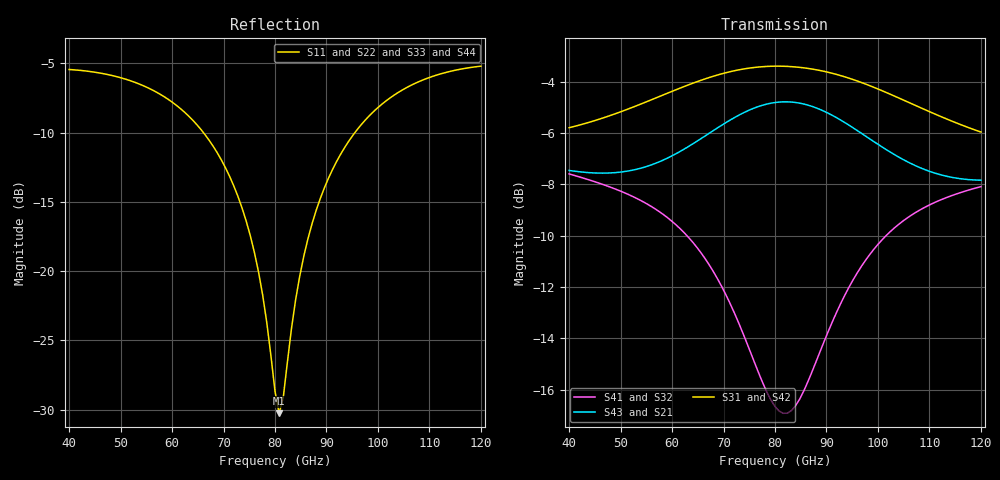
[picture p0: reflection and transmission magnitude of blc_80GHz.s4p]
#  GHZ S DB R 50
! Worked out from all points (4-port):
!   101 points, 40 GHz to 120 GHz, reference 50 ohm
!   strongest paths, dB at 40 GHz, 60 GHz, 80 GHz, 100 GHz, 120 GHz:
!     S31: -5.8, -4.4, -3.4, -4.3, -6.0
!     S42: -5.8, -4.4, -3.4, -4.3, -6.0
!     S43: -7.5, -6.9, -4.8, -6.4, -7.8
!     S21: -7.5, -6.9, -4.8, -6.4, -7.8
!     S41: -7.6, -9.4, -16.7, -10.3, -8.1
!     S32: -7.6, -9.4, -16.7, -10.4, -8.1
!   lowest |S11| = -30.3 dB at 80.8 GHz (marker M1), VSWR 1.06, Z = 53.2 + j0.0958 ohm
!   |S11| at or under -10 dB: 66.08 GHz to 95.54 GHz (29.45 GHz wide, 36.4 % of centre)
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40  -5.45 158.4  -7.46 -47.2  -5.80 -80.7  -7.60 -62.9
    -7.46 -47.2  -5.45 158.3  -7.59 -62.9  -5.80 -80.7
    -5.80 -80.7  -7.59 -62.9  -5.45 158.3  -7.46 -47.3
    -7.60 -62.9  -5.80 -80.7  -7.46 -47.3  -5.45 158.4
68.8  -11.47 107.8  -5.81 -70.4  -3.75 -147.5  -11.67 -109.9
      -5.81 -70.4  -11.46 107.5  -11.67 -110.0  -3.74 -147.5
      -3.75 -147.5  -11.67 -110.0  -11.46 107.5  -5.81 -70.4
      -11.67 -109.9  -3.74 -147.5  -5.81 -70.4  -11.47 107.7
76  -18.65 83.5  -5.03 -82.9  -3.45 -167.8  -14.93 -111.9
    -5.03 -82.9  -18.61 82.8  -14.94 -112.0  -3.45 -167.8
    -3.45 -167.8  -14.94 -112.0  -18.61 82.8  -5.03 -83.0
    -14.93 -111.9  -3.45 -167.8  -5.03 -83.0  -18.66 83.4
80.8  -30.26 1.7  -4.80 -92.9  -3.40 178.4  -16.83 -98.5
      -4.80 -92.9  -29.76 1.6  -16.86 -98.6  -3.40 178.4
      -3.40 178.4  -16.86 -98.6  -29.80 1.7  -4.80 -93.0
      -16.83 -98.5  -3.40 178.4  -4.80 -93.0  -30.20 1.3
86.4  -17.67 -90.4  -4.91 -104.9  -3.49 162.3  -15.68 -78.0
      -4.91 -104.9  -17.63 -89.6  -15.71 -77.9  -3.49 162.3
      -3.49 162.3  -15.71 -77.9  -17.64 -89.6  -4.92 -104.9
      -15.68 -78.0  -3.49 162.3  -4.92 -104.9  -17.64 -90.3
92.8  -11.53 -110.9  -5.50 -117.1  -3.77 144.3  -12.63 -75.1
      -5.50 -117.1  -11.52 -110.5  -12.64 -75.0  -3.77 144.3
      -3.77 144.3  -12.64 -75.0  -11.52 -110.5  -5.50 -117.1
      -12.63 -75.1  -3.77 144.3  -5.50 -117.1  -11.52 -110.9
120  -5.21 -160.3  -7.83 -142.2  -5.96 79.5  -8.09 -118.6
     -7.83 -142.2  -5.21 -160.2  -8.10 -118.5  -5.97 79.5
     -5.96 79.5  -8.10 -118.5  -5.20 -160.2  -7.84 -142.2
     -8.09 -118.6  -5.97 79.5  -7.84 -142.2  -5.21 -160.3
